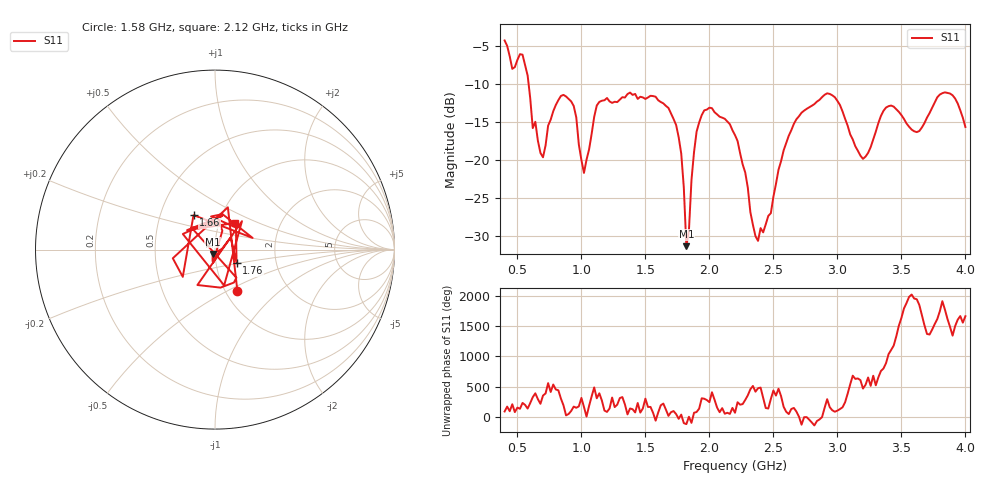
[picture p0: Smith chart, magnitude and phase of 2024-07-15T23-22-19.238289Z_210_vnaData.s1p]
!Created with skrf (http://scikit-rf.org).
# Hz S RI R 50.0
!freq ReS11 ImS11
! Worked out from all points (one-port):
!   181 points, 400 MHz to 4 GHz, reference 50 ohm
!   lowest |S11| = -31.3 dB at 1.82 GHz (marker M1), VSWR 1.06, Z = 48.7 - j2.33 ohm
!   |S11| at or under -10 dB: 587.2 MHz to end of sweep
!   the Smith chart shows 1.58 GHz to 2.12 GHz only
!   S11 on the Smith chart (normalised r, x): 1.58 GHz: 1.14, -0.56; 1.66 GHz: 0.74, +0.30; 1.76 GHz: 1.26, -0.19; 2.12 GHz: 1.19, +0.37
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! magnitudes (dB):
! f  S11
! 400 MHz  -4.3
! 460 MHz  -8.1
! 540 MHz  -6.2
! 620 MHz  -15.8
! 700 MHz  -19.6
! 860 MHz  -11.5
! 940 MHz  -12.9
! 1.02 GHz  -21.7
! 1.12 GHz  -12.9
! 1.3 GHz  -12.1
! 1.58 GHz  -11.7
! 1.66 GHz  -12.9
! 1.76 GHz  -17.0
! 1.8 GHz  -23.6
! 1.82 GHz  -31.3
! 1.88 GHz  -18.9
! 1.92 GHz  -15.1
! 2.12 GHz  -14.6
! 2.2 GHz  -16.7
! 2.38 GHz  -30.6
! 2.66 GHz  -15.3
! 2.92 GHz  -11.3
! 3.1 GHz  -16.6
! 3.2 GHz  -19.8
! 3.38 GHz  -13.1
! 3.56 GHz  -15.6
! 3.84 GHz  -11.1
! 4 GHz  -15.7
